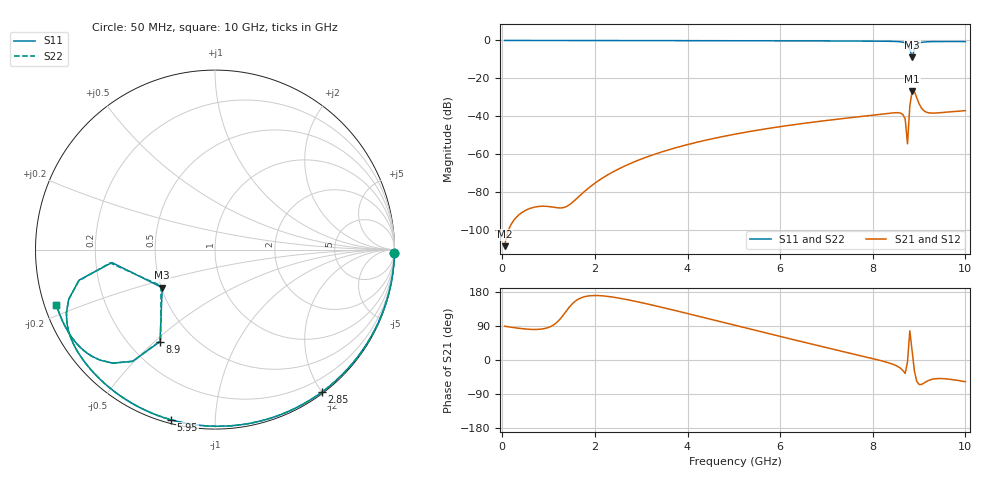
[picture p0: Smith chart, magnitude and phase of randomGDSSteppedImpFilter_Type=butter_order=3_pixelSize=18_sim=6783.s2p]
! freq	dB(S11)	phase(S11)	dB(S12)	phase(S12)
!  dB(S21)	phase(S21)	dB(S22)	phase(S22)
!S-par simulation data
#  GHz  S  DB  R 50
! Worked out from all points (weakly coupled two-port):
!   200 points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, 50 MHz to 10 GHz, reference 50 ohm
!   highest |S21| = -26.67 dB at 8.85 GHz (marker M1); lowest = -108.6 dB at 50 MHz (marker M2)
!   lowest |S11| = -8.8 dB at 8.85 GHz (marker M3), VSWR 2.14, Z = 25.3 - j12.3 ohm
!   |S11| at or under -10 dB: nowhere
!   |S22| runs from -8.8 to 0.0 dB; largest |S21 - S12| = 0
!   S11 on the Smith chart (normalised r, x): 50 MHz: open; 2.85 GHz: 0.02, -2.00; 5.95 GHz: 0.02, -0.77; 8.9 GHz: 0.33, -0.52; 10 GHz: 0.03, -0.17
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0.05  -0.00 -1.0  -108.59 89.1  -108.59 89.1  -0.00 -1.0
0.85  -0.02 -16.3  -87.51 81.7  -87.51 81.7  -0.02 -16.3
1.75  -0.04 -33.1  -80.25 166.1  -80.25 166.1  -0.04 -33.1
2.25  -0.05 -42.3  -71.33 168.2  -71.33 168.2  -0.05 -42.3
2.85  -0.07 -53.0  -64.08 155.5  -64.08 155.5  -0.07 -53.0
3.4  -0.08 -62.7  -59.19 140.3  -59.19 140.3  -0.08 -62.7
5.05  -0.14 -90.2  -49.35 90.8  -49.35 90.8  -0.14 -90.2
5.95  -0.18 -104.5  -45.68 63.7  -45.68 63.7  -0.18 -104.4
6.7  -0.23 -116.1  -43.16 41.4  -43.16 41.4  -0.23 -116.1
7.7  -0.31 -132.0  -40.27 12.4  -40.27 12.4  -0.31 -132.0
8.35  -0.43 -144.7  -38.44 -7.7  -38.44 -7.7  -0.43 -144.7
8.65  -0.92 -157.0  -39.07 -27.6  -39.07 -27.6  -0.91 -156.8
8.7  -1.31 -161.3  -41.41 -35.2  -41.41 -35.2  -1.29 -161.1
8.75  -2.21 -167.4  -54.60 -5.1  -54.60 -5.1  -2.16 -167.1
8.8  -4.75 -172.8  -34.62 77.0  -34.62 77.0  -4.60 -172.8
8.85  -8.82 -144.2  -26.67 22.8  -26.67 22.8  -8.82 -146.1
8.9  -4.47 -120.9  -26.96 -30.0  -26.96 -30.0  -4.59 -120.9
8.95  -2.21 -126.5  -30.30 -56.3  -30.30 -56.3  -2.25 -126.3
9.05  -1.03 -136.1  -35.64 -64.5  -35.64 -64.5  -1.03 -136.1
9.15  -0.73 -141.5  -37.79 -57.5  -37.79 -57.5  -0.74 -141.5
9.45  -0.56 -150.3  -38.15 -48.9  -38.15 -48.9  -0.56 -150.3
10  -0.57 -160.8  -37.04 -57.3  -37.04 -57.3  -0.57 -160.7
